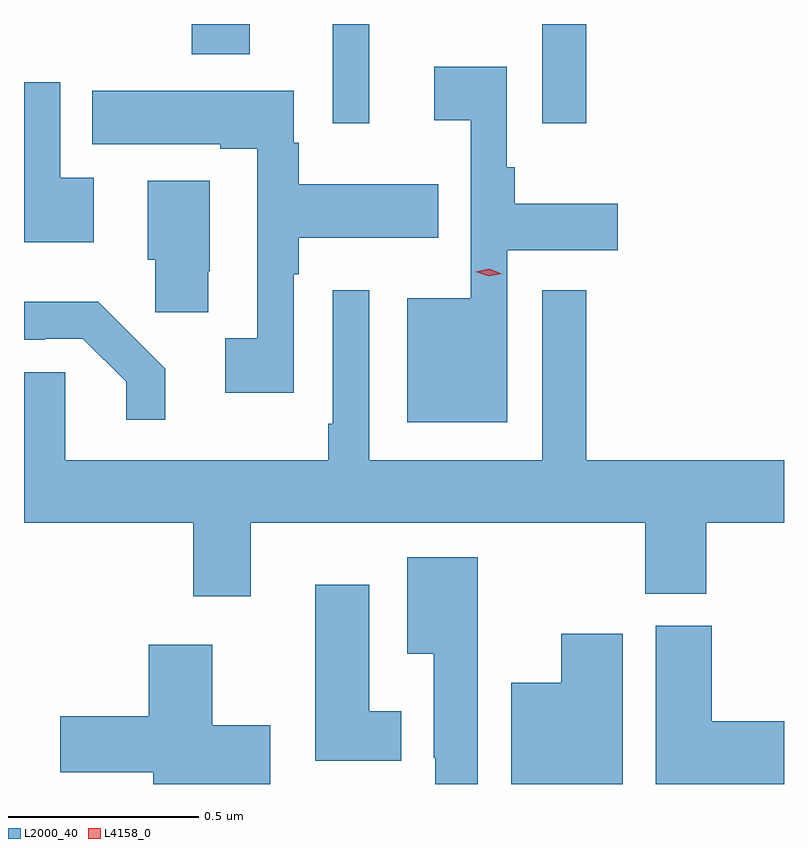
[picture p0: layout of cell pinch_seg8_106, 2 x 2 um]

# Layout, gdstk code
import gdstk
lib = gdstk.Library(unit=1e-6, precision=1e-09)
def R(c, l, rs):  # rectangles x0, y0, x1, y1
    for r in rs: c.add(gdstk.rectangle(r[:2], r[2:], *l))
def P(c, l, *ps):  # polygons
    for p in ps: c.add(gdstk.Polygon(p, *l))
L2000_40 = (2000, 40)
L4158_0 = (4158, 0)

pinch_seg8_106 = lib.new_cell('pinch_seg8_106')
R(pinch_seg8_106, L2000_40, [(1036.515,1114.887,1036.612,1115.148), (1037.067,1114.887,1037.183,1115.148), (1036.145,1115.069,1036.297,1115.148)])
P(pinch_seg8_106, L2000_40, [(1036.975,1114.553),(1037.266,1114.553),(1037.266,1114.675),(1036.994,1114.675),(1036.994,1114.771),(1036.974,1114.771),(1036.974,1115.035),(1036.782,1115.035),(1036.782,1114.895),(1036.878,1114.895),(1036.878,1114.426),(1036.712,1114.426),(1036.712,1114.1),(1036.975,1114.1)],
  [(1035.886,1114.744),(1035.798,1114.744),(1035.798,1114.995),(1035.703,1114.995),(1035.703,1114.574),(1035.886,1114.574)],
  [(1036.413,1114.49),(1036.426,1114.49),(1036.426,1114.586),(1036.793,1114.586),(1036.793,1114.726),(1036.426,1114.726),(1036.426,1114.836),(1036.413,1114.836),(1036.413,1114.972),(1035.883,1114.972),(1035.883,1114.832),(1036.22,1114.832),(1036.22,1114.82),(1036.317,1114.82),(1036.317,1114.321),(1036.233,1114.321),(1036.233,1114.178),(1036.413,1114.178)],
  [(1036.188,1114.498),(1036.192,1114.498),(1036.192,1114.735),(1036.028,1114.735),(1036.028,1114.527),(1036.048,1114.527),(1036.048,1114.389),(1036.188,1114.389)],
  [(1036.3,1113.836),(1037.338,1113.836),(1037.338,1113.649),(1037.498,1113.649),(1037.498,1113.836),(1037.703,1113.836),(1037.703,1114),(1037.183,1114),(1037.183,1114.447),(1037.067,1114.447),(1037.067,1114),(1036.611,1114),(1036.611,1114.447),(1036.515,1114.447),(1036.515,1114.096),(1036.503,1114.096),(1036.503,1114),(1035.811,1114),(1035.811,1114.232),(1035.703,1114.232),(1035.703,1113.836),(1036.148,1113.836),(1036.148,1113.642),(1036.3,1113.642)],
  [(1036.075,1114.241),(1035.899,1114.417),(1035.703,1114.417),(1035.703,1114.317),(1035.758,1114.317),(1035.758,1114.32),(1035.858,1114.32),(1035.972,1114.206),(1035.972,1114.107),(1036.075,1114.107)],
  [(1036.897,1113.745),(1036.712,1113.745),(1036.712,1113.491),(1036.781,1113.491),(1036.781,1113.217),(1036.785,1113.217),(1036.785,1113.148),(1036.897,1113.148)],
  [(1036.696,1113.34),(1036.612,1113.34),(1036.612,1113.673),(1036.469,1113.673),(1036.469,1113.209),(1036.696,1113.209)],
  [(1037.703,1113.313),(1037.513,1113.313),(1037.513,1113.564),(1037.366,1113.564),(1037.366,1113.148),(1037.703,1113.148)],
  [(1037.278,1113.544),(1037.117,1113.544),(1037.117,1113.415),(1036.985,1113.415),(1036.985,1113.148),(1037.278,1113.148)],
  [(1036.351,1113.303),(1036.198,1113.303),(1036.198,1113.514),(1036.031,1113.514),(1036.031,1113.326),(1035.798,1113.326),(1035.798,1113.179),(1036.043,1113.179),(1036.043,1113.148),(1036.351,1113.148)])
P(pinch_seg8_106, L4158_0, [(1036.926,1114.484),(1036.892,1114.496),(1036.892,1114.496),(1036.892,1114.496),(1036.927,1114.504),(1036.96,1114.491),(1036.961,1114.491),(1036.96,1114.491)])

lib.write_gds('pinch_seg8_106.gds')
